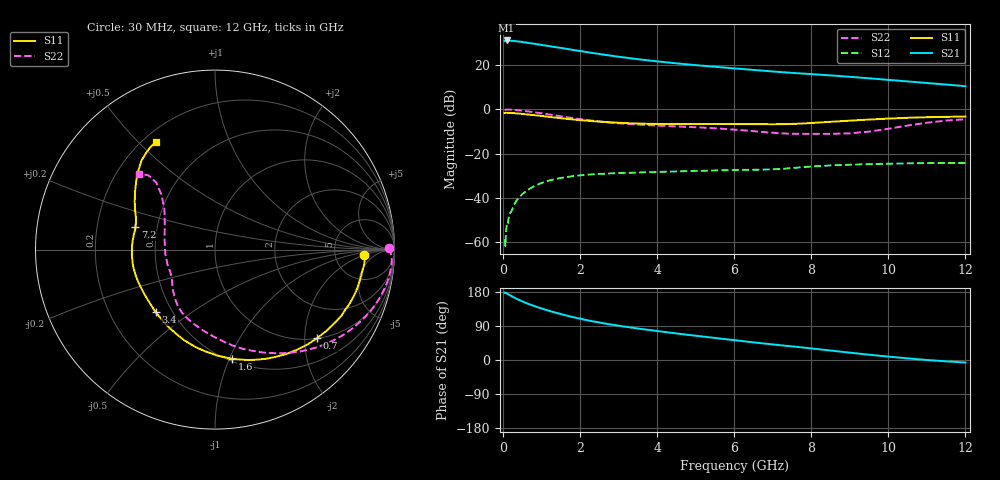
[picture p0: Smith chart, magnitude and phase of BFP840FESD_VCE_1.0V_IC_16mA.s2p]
! Infineon Technologies  Discrete & RF Semiconductors
! BFP840FESD
! VCE =  1.0 V,  IC =  16 mA
! Common Emitter S-Parameters:  May 2012
# GHz  S  MA  R  50
!  f  S11  S21  S12  S22
! GHz  MAG  ANG  MAG  ANG  MAG  ANG  MAG  ANG
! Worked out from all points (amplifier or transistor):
!   103 points, 30 MHz to 12 GHz, reference 50 ohm
!   highest |S21| = 31.2 dB at 80 MHz (marker M1)
!   |S21| within 3 dB of that: start of sweep to 1.348 GHz
!   unconditionally stable (mu >= 1): 5.97 GHz to end of sweep
!   at 400 MHz: K = 0.11, MSG = 35.4 dB, |S12| = -40.1 dB
!   at 3.7 GHz: K = 0.68, MSG = 25.4 dB, |S12| = -28.5 dB
!   at 12 GHz: K = 1.15, MAG = 15.0 dB, |S12| = -24.3 dB
!   S11 on the Smith chart (normalised r, x): 30 MHz: 10, -2; 700 MHz: 1.01, -2.30; 1.6 GHz: 0.52, -1.02; 3.4 GHz: 0.41, -0.37; 7.2 GHz: 0.38, +0.12; 12 GHz: 0.25, +0.57
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0.03  0.8307 -1.9  34.99 177.3  0.0011 85.1  0.9686 0.4
0.04  0.8317 -2.6  35.3 176.8  0.0011 92.4  0.9744 -0.2
0.05  0.8321 -3.3  35.72 177.6  0.0008 112.4  0.9776 -0.8
0.08  0.8354 -5.2  36.15 175.8  0.0022 90.2  0.985 -2.6
0.3  0.8147 -18.9  35.1 163.7  0.0075 78.5  0.9671 -13.5
0.35  0.8075 -22.1  34.51 161.0  0.0089 78.1  0.9592 -15.8
0.45  0.7956 -27.4  33.93 156.5  0.0111 74.3  0.9394 -20.0
0.5  0.785 -30.6  33.14 154.2  0.0123 73.1  0.9286 -22.1
0.7  0.753 -41.0  31.25 146.1  0.0163 67.8  0.8823 -29.9
0.9  0.7209 -50.8  29.5 138.9  0.02 62.5  0.8338 -37.2
1.1  0.6881 -60.1  27.65 132.4  0.0232 57.6  0.7856 -43.9
1.6  0.6156 -81.2  23.7 118.3  0.0291 48.0  0.6722 -59.2
2.1  0.5588 -99.2  20.15 106.6  0.0328 40.8  0.5839 -72.6
2.7  0.5117 -116.7  16.78 95.2  0.0351 35.1  0.5094 -85.6
3.4  0.4801 -133.3  13.94 84.4  0.037 31.5  0.4569 -98.0
4.1  0.4656 -147.1  11.9 75.1  0.0385 29.7  0.4247 -107.8
4.8  0.4639 -159.2  10.35 66.3  0.04 28.9  0.3995 -116.4
6.1  0.4631 -178.1  8.294 51.1  0.0424 28.2  0.3415 -131.9
7.2  0.4608 164.4  6.968 38.9  0.0448 31.1  0.287 -147.3
8.5  0.5219 149.0  5.851 24.9  0.0538 29.6  0.278 -175.6
10.5  0.6436 129.5  4.278 4.3  0.0598 23.3  0.4296 134.2
12  0.6835 118.6  3.336 -6.6  0.0612 21.3  0.5956 135.0
